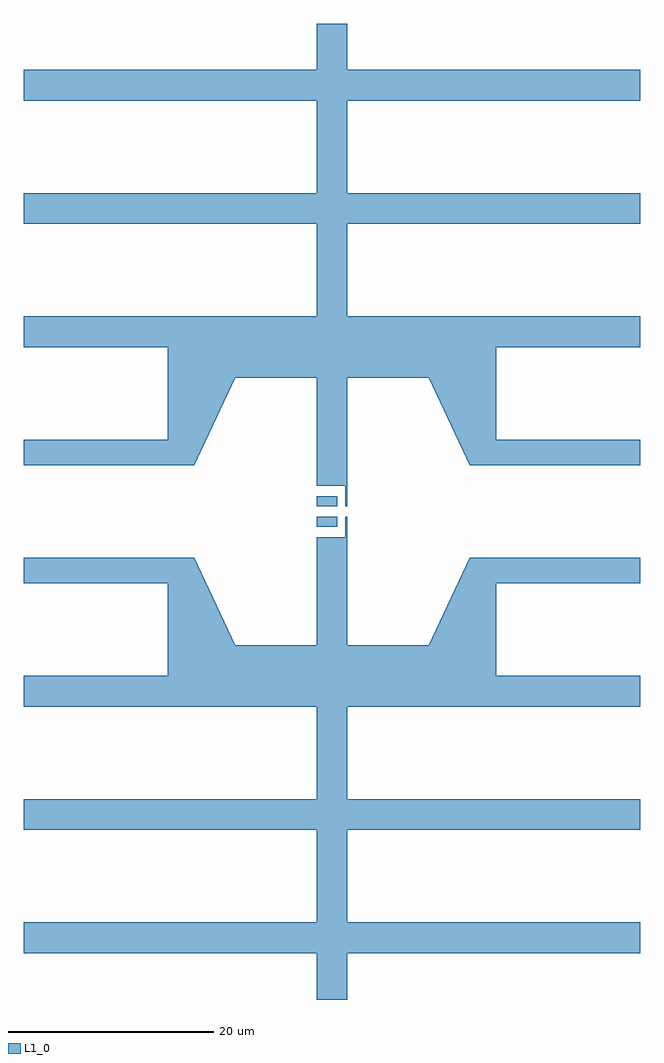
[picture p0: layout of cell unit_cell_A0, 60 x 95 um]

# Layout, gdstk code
from math import pi, radians
import gdstk
lib = gdstk.Library(unit=1e-6, precision=1e-09)
def R(c, l, rs):  # rectangles x0, y0, x1, y1
    for r in rs: c.add(gdstk.rectangle(r[:2], r[2:], *l))
def P(c, l, *ps):  # polygons
    for p in ps: c.add(gdstk.Polygon(p, *l))
L1_0 = (1, 0)

unnamed_403 = lib.new_cell('Unnamed_403')
P(unnamed_403, L1_0, [(28.5,0),(28.5,4.5),(0,4.5),(0,7.5),(28.5,7.5),(28.5,16.5),(0,16.5),(0,19.5),(28.5,19.5),(28.5,28.5),(0,28.5),(0,31.5),(14,31.5),(14,40.5),(0,40.5),(0,43),(16.597,43),(20.596,34.5),(28.5,34.5),(28.5,45),(30,45),(30,0)])

unnamed_404 = lib.new_cell('Unnamed_404')
unnamed_404.add(gdstk.Reference(unnamed_403, (0,0)))

rectangle_s2_1_lwg_cfal_ = lib.new_cell('rectangle_S2_1_LWG_CFal_a0a9c26d')
R(rectangle_s2_1_lwg_cfal_, L1_0, [(0,0,2,1)])

rectangle_s0p2_2_lwg_cf_ = lib.new_cell('rectangle_S0p2_2_LWG_CF_9ef6d549')
R(rectangle_s0p2_2_lwg_cf_, L1_0, [(0,0,0.2,2)])

unnamed_405 = lib.new_cell('Unnamed_405')
unnamed_405.add(gdstk.Reference(rectangle_s2_1_lwg_cfal_, (0,-1.5)))
unnamed_405.add(gdstk.Reference(rectangle_s0p2_2_lwg_cf_, (2.8,-2.5)))

unit_cell_a0 = lib.new_cell('unit_cell_A0')
unit_cell_a0.add(gdstk.Reference(unnamed_404, (0,0)))
unit_cell_a0.add(gdstk.Reference(unnamed_404, (60,0), rotation=pi, x_reflection=True))
unit_cell_a0.add(gdstk.Reference(unnamed_404, (0,95), x_reflection=True))
unit_cell_a0.add(gdstk.Reference(unnamed_404, (60,95), rotation=pi))
unit_cell_a0.add(gdstk.Reference(unnamed_405, (28.5,47.5)))
unit_cell_a0.add(gdstk.Reference(unnamed_405, (28.5,47.5), x_reflection=True))

lib.write_gds('unit_cell_A0.gds')
